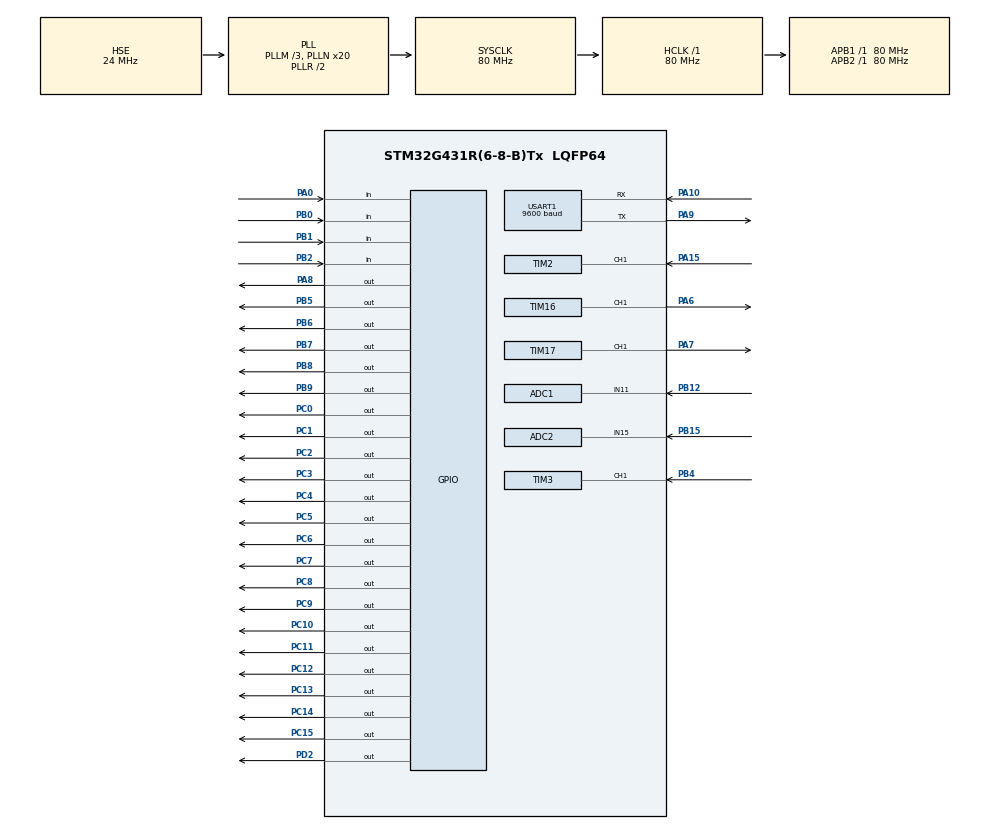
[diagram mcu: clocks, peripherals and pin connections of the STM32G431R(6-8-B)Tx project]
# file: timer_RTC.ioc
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ADC1.Channel-0\#ChannelRegularConversion=ADC_CHANNEL_11
ADC1.NbrOfConversionFlag=1
ADC1.OffsetNumber-0\#ChannelRegularConversion=ADC_OFFSET_NONE
ADC1.Rank-0\#ChannelRegularConversion=1
ADC1.SamplingTime-0\#ChannelRegularConversion=ADC_SAMPLETIME_2CYCLES_5
ADC1.master=1
ADC2.Channel-0\#ChannelRegularConversion=ADC_CHANNEL_15
ADC2.NbrOfConversionFlag=1
ADC2.OffsetNumber-0\#ChannelRegularConversion=ADC_OFFSET_NONE
ADC2.Rank-0\#ChannelRegularConversion=1
ADC2.SamplingTime-0\#ChannelRegularConversion=ADC_SAMPLETIME_2CYCLES_5
Mcu.Family=STM32G4
Mcu.Name=STM32G431R(6-8-B)Tx
Mcu.Package=LQFP64
NVIC.PriorityGroup=NVIC_PRIORITYGROUP_4
NVIC.TIM2_IRQn=true\:0\:0\:false\:false\:true\:true\:true\:true
NVIC.TIM3_IRQn=true\:0\:0\:false\:false\:true\:true\:true\:true
NVIC.TIM4_IRQn=true\:0\:0\:false\:false\:true\:true\:true\:true
NVIC.USART1_IRQn=true\:0\:0\:false\:false\:true\:true\:true\:true
PA0.Signal=GPIO_Input
PA10.Mode=Asynchronous
PA10.Signal=USART1_RX
PA15.Signal=S_TIM2_CH1
PA6.Signal=S_TIM16_CH1
PA7.Signal=S_TIM17_CH1
PA8.Signal=GPIO_Output
PA9.Mode=Asynchronous
PA9.Signal=USART1_TX
PB0.Signal=GPIO_Input
PB1.Signal=GPIO_Input
PB12.Mode=IN11-Single-Ended
PB12.Signal=ADC1_IN11
PB15.Mode=IN15-Single-Ended
PB15.Signal=ADC2_IN15
PB2.Signal=GPIO_Input
PB4.Signal=S_TIM3_CH1
PB5.Signal=GPIO_Output
PB6.Signal=GPIO_Output
PB7.Signal=GPIO_Output
PB8-BOOT0.Signal=GPIO_Output
PB9.Signal=GPIO_Output
PC0.Signal=GPIO_Output
PC1.Signal=GPIO_Output
PC10.Signal=GPIO_Output
PC11.Signal=GPIO_Output
PC12.Signal=GPIO_Output
PC13.Signal=GPIO_Output
PC14-OSC32_IN.Signal=GPIO_Output
PC15-OSC32_OUT.Signal=GPIO_Output
PC2.Signal=GPIO_Output
PC3.Signal=GPIO_Output
PC4.Signal=GPIO_Output
PC5.Signal=GPIO_Output
PC6.Signal=GPIO_Output
PC7.Signal=GPIO_Output
PC8.Signal=GPIO_Output
PC9.Signal=GPIO_Output
PD2.Signal=GPIO_Output
PF0-OSC_IN.Mode=HSE-External-Oscillator
PF0-OSC_IN.Signal=RCC_OSC_IN
PF1-OSC_OUT.Mode=HSE-External-Oscillator
PF1-OSC_OUT.Signal=RCC_OSC_OUT
ProjectManager.HeapSize=0x200
ProjectManager.StackSize=0x400
ProjectManager.TargetToolchain=MDK-ARM V5.32
RCC.ADC12Freq_Value=80000000
RCC.AHBFreq_Value=80000000
RCC.APB1Freq_Value=80000000
RCC.APB1TimFreq_Value=80000000
RCC.APB2Freq_Value=80000000
RCC.APB2TimFreq_Value=80000000
RCC.CortexFreq_Value=80000000
RCC.EXTERNAL_CLOCK_VALUE=12288000
RCC.HCLKFreq_Value=80000000
RCC.HSE_VALUE=24000000
RCC.HSI48_VALUE=48000000
RCC.HSI_VALUE=16000000
RCC.LSE_VALUE=32768
RCC.PLLM=RCC_PLLM_DIV3
RCC.PLLN=20
RCC.PLLSourceVirtual=RCC_PLLSOURCE_HSE
RCC.RTCClockSelection=RCC_RTCCLKSOURCE_HSE_DIV32
RCC.SYSCLKFreq_VALUE=80000000
RCC.SYSCLKSource=RCC_SYSCLKSOURCE_PLLCLK
RCC.USBFreq_Value=80000000
RCC.VCOOutputFreq_Value=160000000
RTC.AsynchPrediv=125
RTC.Date=26
RTC.Hours=12
RTC.Month=RTC_MONTH_JANUARY
RTC.SynchPrediv=6000
RTC.WeekDay=RTC_WEEKDAY_FRIDAY
RTC.Year=22
SH.S_TIM16_CH1.0=TIM16_CH1,PWM Generation1 CH1
SH.S_TIM17_CH1.0=TIM17_CH1,PWM Generation1 CH1
SH.S_TIM2_CH1.0=TIM2_CH1,Input_Capture1_from_TI1
SH.S_TIM3_CH1.0=TIM3_CH1,Input_Capture1_from_TI1
TIM16.Channel=TIM_CHANNEL_1
TIM16.PeriodNoDither=100-1
TIM16.Prescaler=8000-1
TIM16.PulseNoDither_1=10
TIM17.Channel=TIM_CHANNEL_1
TIM17.PeriodNoDither=100-1
TIM17.Prescaler=4000-1
TIM17.PulseNoDither_1=10
TIM2.Channel-Input_Capture1_from_TI1=TIM_CHANNEL_1
TIM2.Channel-Input_Capture2_from_TI1_63=TIM_CHANNEL_2
TIM2.ICPolarity_CH2=TIM_INPUTCHANNELPOLARITY_FALLING
TIM2.Prescaler=80-1
TIM3.Channel-Input_Capture1_from_TI1=TIM_CHANNEL_1
TIM3.Channel-Input_Capture2_from_TI1_63=TIM_CHANNEL_2
TIM3.ICPolarity_CH2=TIM_INPUTCHANNELPOLARITY_FALLING
TIM3.Prescaler=80-1
TIM4.PeriodNoDither=10000-1
TIM4.Prescaler=80-1
USART1.BaudRate=9600
USART1.VirtualMode-Asynchronous=VM_ASYNC
VP_RTC_VS_RTC_Activate.Mode=RTC_Enabled
VP_RTC_VS_RTC_Calendar.Mode=RTC_Calendar
VP_SYS_VS_DBSignals.Mode=DisableDeadBatterySignals
VP_TIM16_VS_ClockSourceINT.Mode=Enable_Timer
VP_TIM17_VS_ClockSourceINT.Mode=Enable_Timer
VP_TIM2_VS_ClockSourceINT.Mode=Internal
VP_TIM2_VS_indirect_ch1.Mode=Input_Capture2_from_TI1_63
VP_TIM3_VS_ClockSourceINT.Mode=Internal
VP_TIM3_VS_indirect_ch1.Mode=Input_Capture2_from_TI1_63
VP_TIM4_VS_ClockSourceINT.Mode=Internal
board=custom

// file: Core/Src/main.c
/* USER CODE BEGIN Header */
/**
  ******************************************************************************
  * @file           : main.c
  * @brief          : Main program body
  ******************************************************************************
  * @attention
  *
  * Copyright (c) 2024 STMicroelectronics.
  * All rights reserved.
  *
  * This software is licensed under terms that can be found in the LICENSE file
  * in the root directory of this software component.
  * If no LICENSE file comes with this software, it is provided AS-IS.
  *
  ******************************************************************************
  */
/* USER CODE END Header */
#include "main.h"
#include "adc.h"
#include "rtc.h"
#include "tim.h"
#include "usart.h"
#include "gpio.h"

/* USER CODE BEGIN Includes */

#include "String.h"
#include "stdio.h"
#include "lcd.h"
#include "led.h"
#include "myusart.h"
#include "myadc.h"
#include "i2c_hal.h"
#include "timer.h"

/* USER CODE END Includes */

void SystemClock_Config(void);
/* USER CODE BEGIN PFP */
void lcd_proc(void);
void key_proc(void);

/* USER CODE END PFP */

/* USER CODE BEGIN 0 */

//减速函数

__IO uint32_t uwTick_lcd;

unsigned char lcd_text[30];

//RTC结构体变量
RTC_TimeTypeDef T;//时间结构体
RTC_DateTypeDef D;//日期结构体

//lcd灯
unsigned char ucled=0x00;

//pa6\pa7的占空比

unsigned char pa6_duty=10;
unsigned char pa7_duty=10;

//pb15/pb12的电压
double pb15_v=0;
double pb12_v=0;

/* USER CODE END 0 */

int main(void)
{

  /* MCU Configuration--------------------------------------------------------*/

  /* Reset of all peripherals, Initializes the Flash interface and the Systick. */
  HAL_Init();

  /* Configure the system clock */
  SystemClock_Config();

  /* Initialize all configured peripherals */
  MX_GPIO_Init();
  MX_ADC1_Init();
  MX_ADC2_Init();
  MX_RTC_Init();
  MX_TIM2_Init();
  MX_TIM3_Init();
  MX_TIM4_Init();
  MX_TIM16_Init();
  MX_TIM17_Init();
  MX_USART1_UART_Init();
  /* USER CODE BEGIN 2 */

    led_disp(ucled);

    LCD_Init();
    LCD_Clear(White);
    LCD_SetBackColor(White);
    LCD_SetTextColor(Blue2);

    HAL_TIM_Base_Start_IT(&htim4);

    HAL_UART_Receive_IT(&huart1,&rxdat,1);

    HAL_TIM_IC_Start_IT(&htim2,TIM_CHANNEL_1);
    HAL_TIM_IC_Start_IT(&htim3,TIM_CHANNEL_1);

    HAL_TIM_PWM_Start(&htim16,TIM_CHANNEL_1);
    HAL_TIM_PWM_Start(&htim17,TIM_CHANNEL_1);

  /* USER CODE END 2 */

  /* Infinite loop */
  while (1)
  {

    /* USER CODE BEGIN 3 */
      key_proc();
      lcd_proc();
  }
  /* USER CODE END 3 */
}

void SystemClock_Config(void)
{
  RCC_OscInitTypeDef RCC_OscInitStruct = {0};
  RCC_ClkInitTypeDef RCC_ClkInitStruct = {0};

  /** Configure the main internal regulator output voltage
  */
  HAL_PWREx_ControlVoltageScaling(PWR_REGULATOR_VOLTAGE_SCALE1);

  /** Initializes the RCC Oscillators according to the specified parameters
  * in the RCC_OscInitTypeDef structure.
  */
  RCC_OscInitStruct.OscillatorType = RCC_OSCILLATORTYPE_HSE;
  RCC_OscInitStruct.HSEState = RCC_HSE_ON;
  RCC_OscInitStruct.PLL.PLLState = RCC_PLL_ON;
  RCC_OscInitStruct.PLL.PLLSource = RCC_PLLSOURCE_HSE;
  RCC_OscInitStruct.PLL.PLLM = RCC_PLLM_DIV3;
  RCC_OscInitStruct.PLL.PLLN = 20;
  RCC_OscInitStruct.PLL.PLLP = RCC_PLLP_DIV2;
  RCC_OscInitStruct.PLL.PLLQ = RCC_PLLQ_DIV2;
  RCC_OscInitStruct.PLL.PLLR = RCC_PLLR_DIV2;
  if (HAL_RCC_OscConfig(&RCC_OscInitStruct) != HAL_OK)
  {
    Error_Handler();
  }

  /** Initializes the CPU, AHB and APB buses clocks
  */
  RCC_ClkInitStruct.ClockType = RCC_CLOCKTYPE_HCLK|RCC_CLOCKTYPE_SYSCLK
                              |RCC_CLOCKTYPE_PCLK1|RCC_CLOCKTYPE_PCLK2;
  RCC_ClkInitStruct.SYSCLKSource = RCC_SYSCLKSOURCE_PLLCLK;
  RCC_ClkInitStruct.AHBCLKDivider = RCC_SYSCLK_DIV1;
  RCC_ClkInitStruct.APB1CLKDivider = RCC_HCLK_DIV1;
  RCC_ClkInitStruct.APB2CLKDivider = RCC_HCLK_DIV1;

  if (HAL_RCC_ClockConfig(&RCC_ClkInitStruct, FLASH_LATENCY_2) != HAL_OK)
  {
    Error_Handler();
  }
}

/* USER CODE BEGIN 4 */

void key_proc(void)
{

     //RTC时间和日期读取函数
    //时间和日期必须同时Get,否则时间无法正常计数
    HAL_RTC_GetTime(&hrtc,&T,RTC_FORMAT_BIN);
    HAL_RTC_GetDate(&hrtc,&D,RTC_FORMAT_BIN);
    pb15_v=get_ADC(&hadc2);
    pb12_v=get_ADC(&hadc1);
    if(1==key[0].single_flag)//读出保存在eeprom里的数据，并发送到串口助手
    {
        key[0].single_flag=0;

        ucled=ucled|0x01;
        memset(lcd_text,0,sizeof(lcd_text));
        sprintf((char *)lcd_text,"   %s","key1down");
        LCD_DisplayStringLine(Line2,lcd_text);

        unsigned int eeprom_frq;
        eeprom_frq=(eeprom_read(1)<<8)+eeprom_read(2);
        memset(lcd_text,0,sizeof(lcd_text));
        sprintf((char *)lcd_text,"eeprom_frq:%d HZ",eeprom_frq);
        LCD_DisplayStringLine(Line9,lcd_text);

        char usart_temp[20];
        sprintf(usart_temp,"eeprom_frq:%d HZ\r\n",eeprom_frq);
        HAL_UART_Transmit(&huart1,(uint8_t *)usart_temp,strlen(usart_temp),50);

    }
    else if(1==key[1].single_flag)//将定时器2的频率保存到eeprom中，
    {
        memset(lcd_text,0,sizeof(lcd_text));
        sprintf((char *)lcd_text,"   %s","key2down");
        LCD_DisplayStringLine(Line2,lcd_text);
        ucled=ucled&0xfe;
        unsigned char frq_h;
        unsigned char frq_l;

        frq_h=(frq1>>8);
        frq_l=(frq1&0xff);

        eeprom_write(1,frq_h);
        HAL_Delay(10);
        eeprom_write(2,frq_l);
        key[1].single_flag=0;
    }
    else if(1==key[2].single_flag)//pa6的占空比增加
    {
        memset(lcd_text,0,sizeof(lcd_text));
        sprintf((char *)lcd_text,"   %s","key3down");
        LCD_DisplayStringLine(Line2,lcd_text);
        ucled=ucled|0x02;
        pa6_duty+=10;
        if(pa6_duty>=100)pa6_duty=10;
        __HAL_TIM_SetCompare(&htim16,TIM_CHANNEL_1,pa6_duty);

        key[2].single_flag=0;
    }
    else if(1==key[3].single_flag)//pa7的占空比增加
    {
        memset(lcd_text,0,sizeof(lcd_text));
        sprintf((char *)lcd_text,"   %s","key4down");
        LCD_DisplayStringLine(Line2,lcd_text);
        ucled=ucled&0xfd;
        pa7_duty+=10;
        if(pa7_duty>=100)pa7_duty=10;
        __HAL_TIM_SetCompare(&htim17,TIM_CHANNEL_1,pa7_duty);

        key[3].single_flag=0;
    }

    led_disp(ucled);
}

void lcd_proc(void)
{
    if((uwTick-uwTick_lcd)<200)return;
    uwTick_lcd=uwTick;

    //第一行显示日期
    memset(lcd_text,0,sizeof(lcd_text));
    sprintf((char *)lcd_text,"Date:%02d-%02d-%02d ",2000+D.Year,D.Month,D.Date);
    LCD_DisplayStringLine(Line0,lcd_text);

    //第二行显示时间
    memset(lcd_text,0,sizeof(lcd_text));
    sprintf((char *)lcd_text,"Time:%02d-%02d-%02d ",T.Hours,T.Minutes,T.Seconds);
    LCD_DisplayStringLine(Line1,lcd_text);

    //第四行显示pa6的占空比
     memset(lcd_text,0,sizeof(lcd_text));
    sprintf((char *)lcd_text,"pa6_duty:%d %%",pa6_duty);
    LCD_DisplayStringLine(Line3,lcd_text);

    //第五行显示pa7的占空比
    memset(lcd_text,0,sizeof(lcd_text));
    sprintf((char *)lcd_text,"pa7_duty:%d %%",pa7_duty);
    LCD_DisplayStringLine(Line4,lcd_text);

    //第六行显示TIM2的频率
    memset(lcd_text,0,sizeof(lcd_text));
     sprintf((char *)lcd_text,"tim2_frq:%05d HZ",frq1);
    LCD_DisplayStringLine(Line5,lcd_text);

    //第七行显示TIM2的占空比
     memset(lcd_text,0,sizeof(lcd_text));
     sprintf((char *)lcd_text,"tim2_duty:%0.2f %%",duty1);
    LCD_DisplayStringLine(Line6,lcd_text);

    //第八行显示Pb15（R37）的电压
      memset(lcd_text,0,sizeof(lcd_text));
     sprintf((char *)lcd_text,"pb15_v:%0.2f V",pb15_v);
    LCD_DisplayStringLine(Line7,lcd_text);

    //第九行显示Pb12（R38）的电压
     memset(lcd_text,0,sizeof(lcd_text));
     sprintf((char *)lcd_text,"pb12_v:%0.2f V",pb12_v);
     LCD_DisplayStringLine(Line8,lcd_text);

//    unsigned int eeprom_temp=(eeprom_read(1)<<8)+eeprom_read(2);
//    sprintf((char *)lcd_text,"eeprom_frq:%d HZ",eeprom_temp);
//    LCD_DisplayStringLine(Line9,lcd_text);

}

/* USER CODE END 4 */

void Error_Handler(void)
{
  __disable_irq();
  while (1)
  {
  }
}
